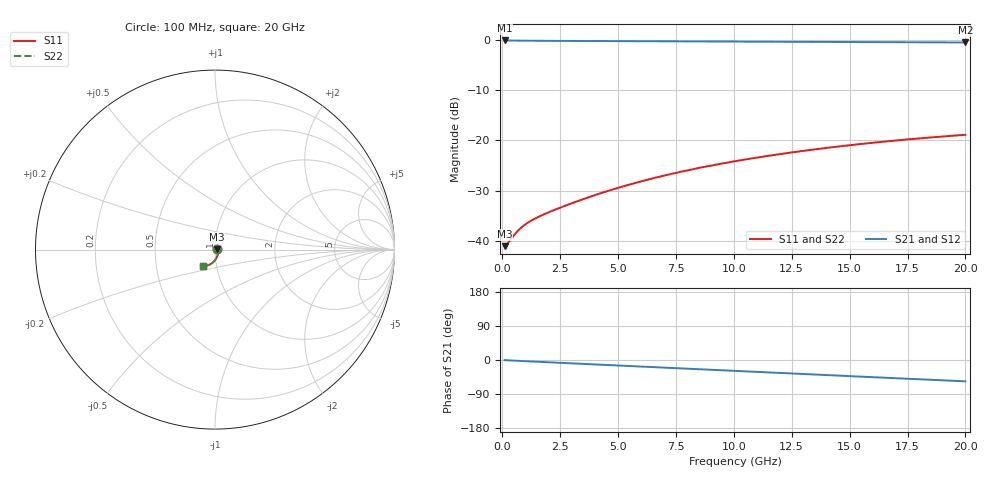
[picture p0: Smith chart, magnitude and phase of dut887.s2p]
! Touchstone file exported from HFSS 2026.1.0
!  File:  C:/ffzhzh/LocalFiles/Ansys_Project_Files/temp_train_TMRDL_887_1783157593_18472.aedt
!  Generated:  05:34:57 PM Jul  4, 2026
!  Design:  TMRDL
!  Project:  temp_train_TMRDL_887_1783157593_18472
! Variables:
!  h_bsmrdl = 2um
!  h_ox = 20um
!  h_rdl = 5um
!  h_sub = 80um
!  h_tmrdl = 2.26um
!  h_tsv = 80um
!  h_via = 3um
!  l_bsmrdl = 300um
!  l_sub = 1392.88um
!  l_tmrdl = 992.88um
!  m_sub = 200um
!  pitch = 19.86um
!  r_tsv = 6um
!  s_tmrdl = 10um
!  w_bsmrdl = 18um
!  w_sub = 500um
!  w_tmrdl = 18.06um
!  x_tsv_center1 = 1001.91um
!  x_tsv_center2 = 1319.91um
!  x_tsv_center3 = 2330.85um
!  x_tsv_center4 = 2648.85um
!  x_tsv_center5 = 3659.79um
!  x_tsv_center6 = 3977.79um
# GHz S MA R 50.000000
! Terminal data exported
! Port[1] = TM_RDL1_1_T1
! Port[2] = TM_RDL1_1_T2
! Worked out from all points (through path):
!   200 points, 100 MHz to 20 GHz, reference 50 ohm
!   highest |S21| = -0.08 dB at 100 MHz (marker M1); lowest = -0.5 dB at 20 GHz (marker M2)
!   group delay of S21, straight-line fit = 7.79 ps
!   lowest |S11| = -41.1 dB at 100 MHz (marker M3), VSWR 1.02, Z = 50.9 + j0.0579 ohm
!   |S11| at or under -10 dB: start of sweep to end of sweep
!   |S22| runs from -41.1 to -18.9 dB; largest |S21 - S12| = 2.7e-15
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0.1  0.008844 3.7  0.9912 -0.4  0.9912 -0.4  0.008844 3.7
! Gamma 0 0 0 0
! Port Impedance 50 0 50 0
0.2  0.009258 6.5  0.9908 -0.7  0.9908 -0.7  0.009258 6.5
0.5  0.01132 7.6  0.9888 -1.7  0.9888 -1.7  0.01132 7.6
0.7  0.01276 4.1  0.9873 -2.3  0.9873 -2.3  0.01276 4.1
0.9  0.01403 -0.7  0.986 -2.9  0.986 -2.9  0.01403 -0.7
1.2  0.01565 -8.3  0.9844 -3.8  0.9844 -3.8  0.01565 -8.3
1.5  0.01705 -15.6  0.9833 -4.6  0.9833 -4.6  0.01705 -15.6
2  0.01922 -26.3  0.9819 -6.0  0.9819 -6.0  0.01922 -26.3
2.7  0.02228 -38.4  0.9807 -8.0  0.9807 -8.0  0.02228 -38.4
3.5  0.02603 -49.2  0.9795 -10.2  0.9795 -10.2  0.02603 -49.2
4.3  0.03003 -57.7  0.9784 -12.5  0.9784 -12.5  0.03004 -57.7
5.1  0.03424 -64.7  0.9773 -14.8  0.9773 -14.8  0.03424 -64.7
5.9  0.03858 -70.5  0.9761 -17.0  0.9761 -17.0  0.03859 -70.5
6.8  0.04358 -76.2  0.9748 -19.6  0.9748 -19.6  0.04359 -76.2
8.4  0.05265 -84.7  0.9721 -24.1  0.9721 -24.1  0.05265 -84.7
10.1  0.06236 -92.3  0.9689 -28.9  0.9689 -28.9  0.06237 -92.3
11.7  0.07145 -98.6  0.9657 -33.4  0.9657 -33.4  0.07145 -98.6
13.4  0.08093 -104.8  0.962 -38.1  0.962 -38.1  0.08094 -104.8
15  0.08958 -110.3  0.9583 -42.6  0.9583 -42.6  0.08959 -110.3
16.7  0.09837 -115.9  0.9543 -47.3  0.9543 -47.3  0.09838 -115.8
18.4  0.1066 -121.3  0.9503 -51.9  0.9503 -51.9  0.1066 -121.3
20  0.1138 -126.3  0.9465 -56.3  0.9465 -56.3  0.1138 -126.2
